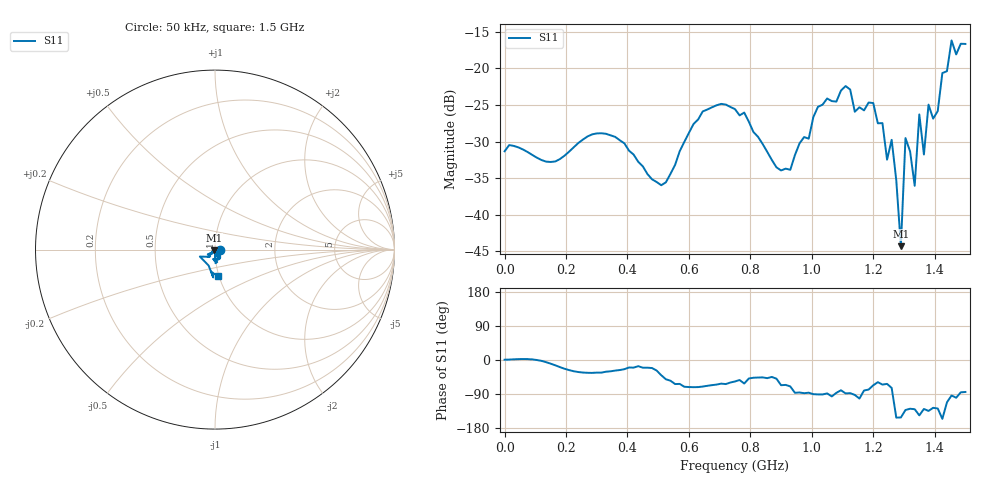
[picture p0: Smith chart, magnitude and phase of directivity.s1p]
! Created with skrf 1.8.0 (http://scikit-rf.org).
# Hz S RI R 50.0
!freq ReS11 ImS11
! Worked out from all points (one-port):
!   101 points, 50 kHz to 1.5 GHz, reference 50 ohm
!   lowest |S11| = -44.3 dB at 1.29 GHz (marker M1), VSWR 1.01, Z = 49.5 - j0.287 ohm
!   |S11| at or under -10 dB: start of sweep to end of sweep
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50000  0.0272 0.000371
1.950435e8  0.0233 -0.00993
3.750375e8  0.0289 -0.0144
5.10033e8  0.0121 -0.0103
5.70031e8  0.0123 -0.0242
6.450285e8  0.0174 -0.0478
7.50025e8  0.029 -0.044
8.850205e8  0.0137 -0.016
9.450185e8  0.00154 -0.0255
1.020016e9  -0.00079 -0.0546
1.125012e9  0.00314 -0.0716
1.140012e9  -0.0019 -0.0506
1.20001e9  0.0229 -0.0533
1.230009e9  0.0179 -0.0383
1.245008e9  0.0108 -0.0212
1.260008e9  0.00914 -0.0312
1.290007e9  -0.00537 -0.0029
1.305006e9  -0.0223 -0.0249
1.320006e9  -0.0169 -0.0212
1.335006e9  -0.0101 -0.0121
1.350005e9  -0.0402 -0.0271
1.365004e9  -0.0163 -0.02
1.380004e9  -0.0396 -0.0404
1.410003e9  -0.0314 -0.0403
1.425002e9  -0.0845 -0.0388
1.440002e9  -0.0354 -0.089
1.455002e9  -0.00984 -0.1549
1.5e9  0.0144 -0.1463
